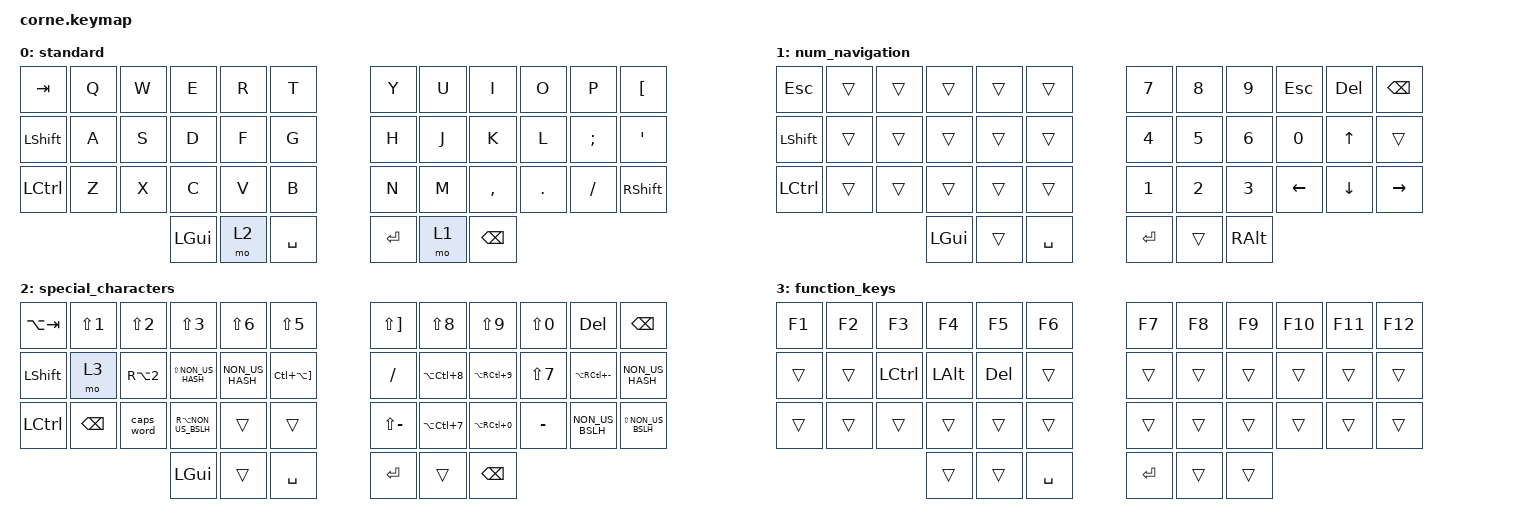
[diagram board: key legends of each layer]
/*
 * Copyright (c) 2020 The ZMK Contributors
 *
 * SPDX-License-Identifier: MIT
 */

#include <behaviors.dtsi>
#include <dt-bindings/zmk/keys.h>

/ {
    keymap {
        compatible = "zmk,keymap";

        standard {
            // -----------------------------------------------------------------------------------------
            // |  TAB |  Q  |  W  |  E  |  R  |  T  |   |  Y  |  U   |  I  |  O  |  P  | BSPC |
            // | CTRL |  A  |  S  |  D  |  F  |  G  |   |  H  |  J   |  K  |  L  |  ;  |  '   |
            // | SHFT |  Z  |  X  |  C  |  V  |  B  |   |  N  |  M   |  ,  |  .  |  /  | ESC  |
            //                    | GUI | LWR | SPC |   | ENT | RSE  | ALT |

            bindings = <
&kp TAB           &kp Q  &kp W  &kp E     &kp R  &kp T        &kp Y    &kp U  &kp I          &kp O    &kp P     &kp LEFT_BRACKET
&kp LEFT_SHIFT    &kp A  &kp S  &kp D     &kp F  &kp G        &kp H    &kp J  &kp K          &kp L    &kp SEMI  &kp SQT
&kp LEFT_CONTROL  &kp Z  &kp X  &kp C     &kp V  &kp B        &kp N    &kp M  &kp COMMA      &kp DOT  &kp FSLH  &kp RIGHT_SHIFT
                                &kp LGUI  &mo 2  &kp SPACE    &kp RET  &mo 1  &kp BACKSPACE
            >;
        };

        num_navigation {
            // -----------------------------------------------------------------------------------------
            // |  TAB |  1  |  2  |  3  |  4  |  5  |   |  6  |  7  |  8  |  9  |  0  | BSPC |
            // | BTCLR| BT1 | BT2 | BT3 | BT4 | BT5 |   | LFT | DWN |  UP | RGT |     |      |
            // | SHFT |     |     |     |     |     |   |     |     |     |     |     |      |
            //                    | GUI |     | SPC |   | ENT |     | ALT |

            bindings = <
&kp ESCAPE      &trans  &trans  &trans    &trans  &trans       &kp N7        &kp N8        &kp N9        &kp ESCAPE  &kp DELETE      &kp BACKSPACE
&kp LEFT_SHIFT  &trans  &trans  &trans    &trans  &trans       &kp NUMBER_4  &kp N5        &kp NUMBER_6  &kp N0      &kp UP_ARROW    &trans
&kp LCTRL       &trans  &trans  &trans    &trans  &trans       &kp NUMBER_1  &kp NUMBER_2  &kp NUMBER_3  &kp LEFT    &kp DOWN_ARROW  &kp RIGHT_ARROW
                                &kp LGUI  &trans  &kp SPACE    &kp RET       &trans        &kp RALT
            >;
        };

        special_characters {
            // -----------------------------------------------------------------------------------------
            // |  TAB |  !  |  @  |  #  |  $  |  %  |   |  ^  |  &  |  *  |  (  |  )  | BSPC |
            // | CTRL |     |     |     |     |     |   |  -  |  =  |  [  |  ]  |  \  |  `   |
            // | SHFT |     |     |     |     |     |   |  _  |  +  |  {  |  }  | "|" |  ~   |
            //                    | GUI |     | SPC |   | ENT |     | ALT |

            bindings = <
&kp LA(TAB)     &kp LS(NUMBER_1)  &kp LS(NUMBER_2)  &kp LS(NUMBER_3)     &kp LS(NUMBER_6)  &kp LS(NUMBER_5)             &kp LS(RIGHT_BRACKET)  &kp LS(NUMBER_8)      &kp LS(NUMBER_9)      &kp LS(NUMBER_0)  &kp DEL            &kp BSPC
&kp LEFT_SHIFT  &mo 3             &kp RA(NUMBER_2)  &kp LS(NON_US_HASH)  &kp NON_US_HASH   &kp LC(LA(RIGHT_BRACKET))    &kp SLASH              &kp LA(LC(NUMBER_8))  &kp LA(RC(NUMBER_9))  &kp LS(NUMBER_7)  &kp LA(RC(MINUS))  &kp NON_US_HASH
&kp LCTRL       &kp BACKSPACE     &caps_word        &kp RA(NON_US_BSLH)  &trans            &trans                       &kp LS(MINUS)          &kp LA(LC(NUMBER_7))  &kp LA(RC(NUMBER_0))  &kp MINUS         &kp NON_US_BSLH    &kp LS(NON_US_BSLH)
                                                    &kp LGUI             &trans            &kp SPACE                    &kp RET                &trans                &kp BACKSPACE
            >;
        };

        function_keys {
            bindings = <
&kp F1  &kp F2  &kp F3     &kp F4    &kp F5   &kp F6       &kp F7   &kp F8  &kp F9  &kp F10  &kp F11  &kp F12
&trans  &trans  &kp LCTRL  &kp LALT  &kp DEL  &trans       &trans   &trans  &trans  &trans   &trans   &trans
&trans  &trans  &trans     &trans    &trans   &trans       &trans   &trans  &trans  &trans   &trans   &trans
                           &trans    &trans   &kp SPACE    &kp RET  &trans  &trans
            >;
        };
    };
};
